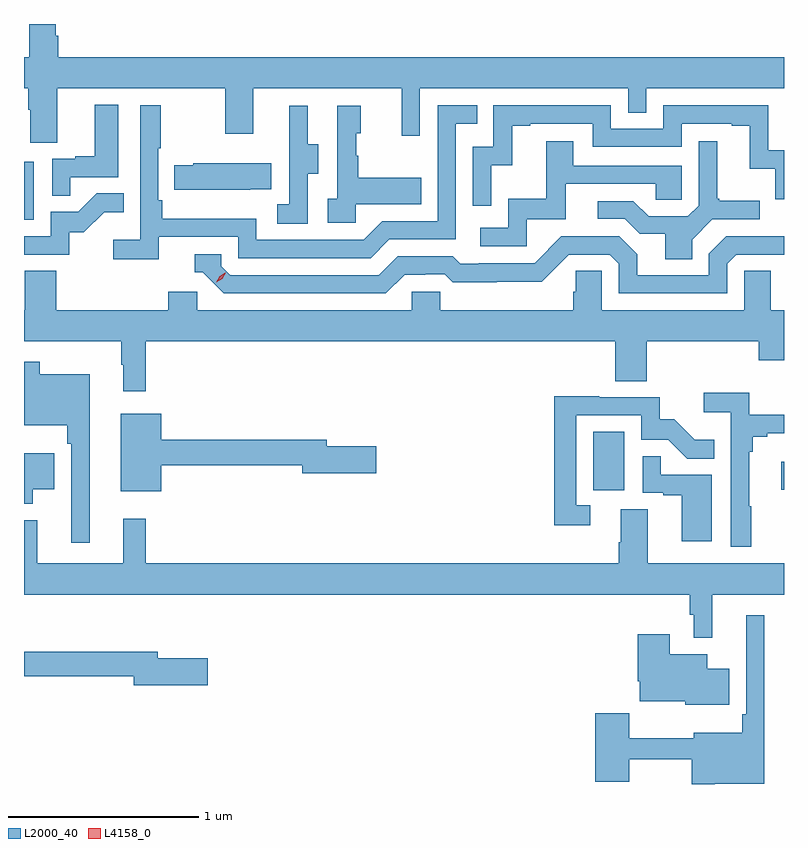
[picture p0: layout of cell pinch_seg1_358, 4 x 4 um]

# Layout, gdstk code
import gdstk
lib = gdstk.Library(unit=1e-6, precision=1e-09)
def R(c, l, rs):  # rectangles x0, y0, x1, y1
    for r in rs: c.add(gdstk.rectangle(r[:2], r[2:], *l))
def P(c, l, *ps):  # polygons
    for p in ps: c.add(gdstk.Polygon(p, *l))
L2000_40 = (2000, 40)
L4158_0 = (4158, 0)

pinch_seg1_358 = lib.new_cell('pinch_seg1_358')
R(pinch_seg1_358, L2000_40, [(953.42,526.974,953.584,527.281), (954.411,526.975,954.425,527.122), (950.425,528.396,950.476,528.703)])
P(pinch_seg1_358, L2000_40, [(950.599,529.088),(951.484,529.088),(951.484,528.849),(951.631,528.849),(951.631,529.088),(952.412,529.088),(952.412,528.84),(952.509,528.84),(952.509,529.088),(953.604,529.088),(953.604,528.961),(953.7,528.961),(953.7,529.088),(954.425,529.088),(954.425,529.252),(950.606,529.252),(950.606,529.364),(950.593,529.364),(950.593,529.427),(950.453,529.427),(950.453,529.252),(950.425,529.252),(950.425,529.088),(950.447,529.088),(950.447,528.976),(950.459,528.976),(950.459,528.802),(950.599,528.802)],
  [(950.669,528.621),(950.92,528.621),(950.92,529.003),(950.798,529.003),(950.798,528.73),(950.695,528.73),(950.695,528.717),(950.574,528.717),(950.574,528.523),(950.669,528.523)],
  [(951.134,528.306),(951.552,528.306),(951.552,528.195),(952.249,528.195),(952.348,528.294),(952.698,528.294),(952.698,528.903),(952.811,528.903),(952.811,528.999),(952.602,528.999),(952.602,528.39),(952.311,528.39),(952.212,528.291),(951.648,528.291),(951.648,528.403),(951.152,528.403),(951.152,528.499),(951.132,528.499),(951.132,528.772),(951.145,528.772),(951.145,529),(951.036,529),(951.036,528.292),(950.895,528.292),(950.895,528.19),(951.134,528.19)],
  [(952.884,528.683),(952.994,528.683),(952.994,528.891),(953.089,528.891),(953.089,528.903),(953.418,528.903),(953.418,528.78),(953.886,528.78),(953.886,528.903),(954.149,528.903),(954.149,528.891),(954.245,528.891),(954.245,528.665),(954.378,528.665),(954.378,528.504),(954.425,528.504),(954.425,528.763),(954.342,528.763),(954.342,528.999),(953.79,528.999),(953.79,528.876),(953.514,528.876),(953.514,528.999),(952.896,528.999),(952.896,528.78),(952.788,528.78),(952.788,528.471),(952.884,528.471)],
  [(951.918,528.64),(951.973,528.64),(951.973,528.795),(951.919,528.795),(951.919,528.997),(951.821,528.997),(951.821,528.783),(951.822,528.783),(951.822,528.479),(951.759,528.479),(951.759,528.376),(951.918,528.376)],
  [(952.17,528.479),(952.517,528.479),(952.517,528.619),(952.183,528.619),(952.183,528.734),(952.173,528.734),(952.173,528.852),(952.198,528.852),(952.198,528.997),(952.074,528.997),(952.074,528.506),(952.023,528.506),(952.023,528.381),(952.17,528.381)],
  [(953.941,528.292),(954.048,528.399),(954.298,528.399),(954.298,528.496),(954.085,528.496),(954.085,528.508),(954.073,528.508),(954.073,528.811),(953.976,528.811),(953.976,528.471),(953.919,528.414),(953.713,528.414),(953.632,528.495),(953.445,528.495),(953.445,528.402),(953.586,528.402),(953.666,528.322),(953.801,528.322),(953.801,528.19),(953.941,528.19)],
  [(953.07,528.399),(953.275,528.399),(953.275,528.585),(953.749,528.585),(953.749,528.501),(953.886,528.501),(953.886,528.681),(953.317,528.681),(953.317,528.811),(953.173,528.811),(953.173,528.508),(952.974,528.508),(952.974,528.354),(952.827,528.354),(952.827,528.258),(953.07,528.258)],
  [(951.617,528.557),(951.725,528.557),(951.725,528.694),(951.315,528.694),(951.315,528.684),(951.217,528.684),(951.217,528.554),(951.617,528.554)],
  [(950.664,528.33),(950.74,528.33),(950.847,528.437),(950.951,528.437),(950.951,528.536),(950.808,528.536),(950.71,528.438),(950.565,528.438),(950.565,528.309),(950.425,528.309),(950.425,528.213),(950.664,528.213)],
  [(952.429,528.108),(952.536,528.108),(952.536,528.111),(952.639,528.111),(952.681,528.069),(952.914,528.069),(952.914,528.071),(953.15,528.071),(953.292,528.213),(953.508,528.213),(953.556,528.165),(953.556,528.009),(954.126,528.009),(954.126,528.165),(954.174,528.213),(954.425,528.213),(954.425,528.311),(954.336,528.311),(954.336,528.309),(954.12,528.309),(954.03,528.219),(954.03,528.105),(953.653,528.105),(953.653,528.215),(953.559,528.309),(953.253,528.309),(953.112,528.168),(952.819,528.168),(952.819,528.165),(952.72,528.165),(952.681,528.204),(952.392,528.204),(952.293,528.105),(951.51,528.105),(951.462,528.153),(951.462,528.216),(951.323,528.216),(951.323,528.12),(951.366,528.12),(951.477,528.009),(952.33,528.009)],
  [(951.065,527.756),(953.537,527.756),(953.537,527.548),(953.702,527.548),(953.702,527.756),(954.293,527.756),(954.293,527.658),(954.425,527.658),(954.425,527.92),(954.355,527.92),(954.355,528.128),(954.216,528.128),(954.216,527.92),(953.466,527.92),(953.466,528.128),(953.329,528.128),(953.329,528.018),(953.315,528.018),(953.315,527.92),(952.617,527.92),(952.617,528.018),(952.467,528.018),(952.467,527.92),(951.336,527.92),(951.336,528.018),(951.185,528.018),(951.185,527.92),(950.594,527.92),(950.594,528.128),(950.429,528.128),(950.429,527.92),(950.425,527.92),(950.425,527.756),(950.937,527.756),(950.937,527.633),(950.948,527.633),(950.948,527.493),(951.065,527.493)],
  [(950.77,527.584),(950.509,527.584),(950.509,527.65),(950.425,527.65),(950.425,527.315),(950.653,527.315),(950.653,527.219),(950.673,527.219),(950.673,526.698),(950.77,526.698)],
  [(954.253,526.889),(954.241,526.889),(954.241,527.177),(954.26,527.177),(954.26,527.254),(954.337,527.254),(954.337,527.273),(954.425,527.273),(954.425,527.37),(954.242,527.37),(954.242,527.486),(954.003,527.486),(954.003,527.384),(954.144,527.384),(954.144,526.677),(954.253,526.677)],
  [(953.404,526.893),(953.331,526.893),(953.331,527.367),(953.673,527.367),(953.673,527.238),(953.817,527.238),(953.915,527.14),(954.059,527.14),(954.059,527.239),(953.955,527.239),(953.848,527.346),(953.772,527.346),(953.772,527.463),(953.453,527.463),(953.453,527.468),(953.215,527.468),(953.215,526.788),(953.404,526.788)],
  [(951.148,527.104),(951.89,527.104),(951.89,527.062),(952.279,527.062),(952.279,527.204),(952.018,527.204),(952.018,527.24),(951.148,527.24),(951.148,527.377),(950.933,527.377),(950.933,526.967),(951.148,526.967)],
  [(950.47,526.979),(950.584,526.979),(950.584,527.167),(950.425,527.167),(950.425,526.901),(950.47,526.901)],
  [(954.046,527.055),(953.777,527.055),(953.777,527.153),(953.682,527.153),(953.682,526.959),(953.789,526.959),(953.789,526.947),(953.888,526.947),(953.888,526.704),(954.046,526.704)],
  [(954.047,526.424),(954.425,526.424),(954.425,526.588),(953.707,526.588),(953.707,526.874),(953.567,526.874),(953.567,526.7),(953.555,526.7),(953.555,526.588),(951.065,526.588),(951.065,526.822),(950.948,526.822),(950.948,526.588),(950.495,526.588),(950.495,526.816),(950.425,526.816),(950.425,526.424),(953.929,526.424),(953.929,526.317),(953.949,526.317),(953.949,526.196),(954.047,526.196)],
  [(954.061,525.428),(954.322,525.428),(954.322,526.315),(954.225,526.315),(954.225,525.793),(954.205,525.793),(954.205,525.697),(953.951,525.697),(953.951,525.668),(953.61,525.668),(953.61,525.799),(953.432,525.799),(953.432,525.438),(953.61,525.438),(953.61,525.558),(953.94,525.558),(953.94,525.427),(954.061,525.427)],
  [(954.136,526.033),(954.022,526.033),(954.022,526.111),(953.824,526.111),(953.824,526.216),(953.654,526.216),(953.654,525.967),(953.666,525.967),(953.666,525.863),(953.904,525.863),(953.904,525.845),(954.136,525.845)],
  [(951.391,526.089),(951.13,526.089),(951.13,526.123),(950.425,526.123),(950.425,525.994),(951.002,525.994),(951.002,525.947),(951.391,525.947)])
P(pinch_seg1_358, L4158_0, [(951.438,528.068),(951.438,528.068),(951.454,528.1),(951.485,528.119),(951.486,528.119),(951.486,528.119),(951.469,528.087),(951.438,528.068)])

lib.write_gds('pinch_seg1_358.gds')
